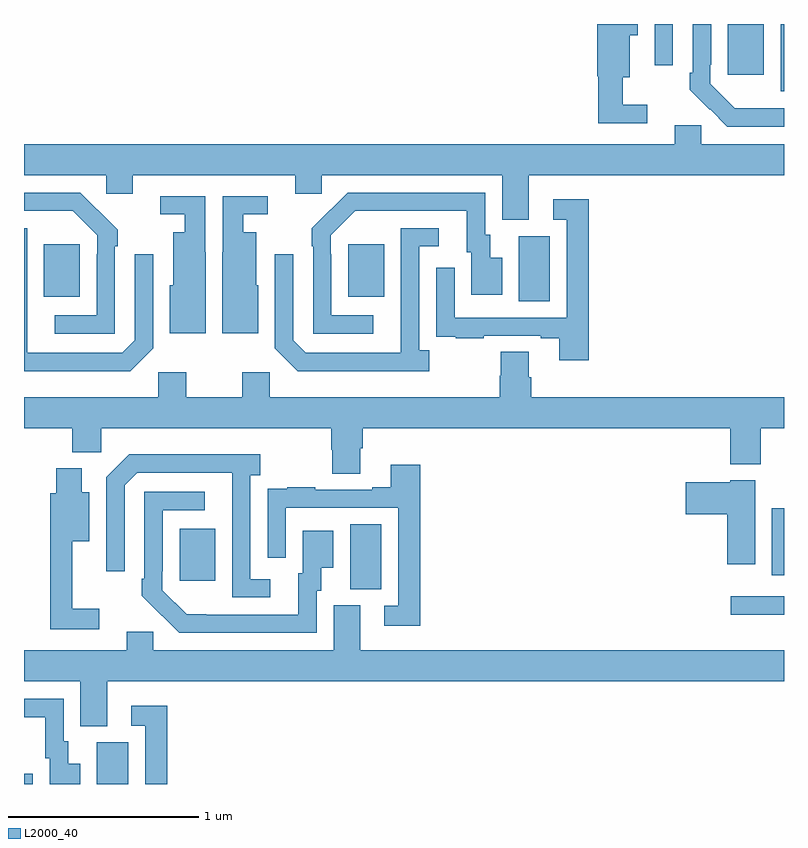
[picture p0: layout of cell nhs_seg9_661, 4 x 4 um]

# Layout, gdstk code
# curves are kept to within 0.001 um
import gdstk
lib = gdstk.Library(unit=1e-6, precision=1e-09)
def R(c, l, rs):  # rectangles x0, y0, x1, y1
    for r in rs: c.add(gdstk.rectangle(r[:2], r[2:], *l))
def P(c, l, *ps):  # polygons
    for p in ps: c.add(gdstk.Polygon(p, *l))
L2000_40 = (2000, 40)

nhs_seg9_661 = lib.new_cell('nhs_seg9_661')
R(nhs_seg9_661, L2000_40, [(143,1242.5,143.046,1242.553), (143.384,1242.5,143.548,1242.72), (146.721,1243.392,147,1243.488), (144.716,1243.525,144.88,1243.868), (143.819,1243.569,144.007,1243.843), (146.936,1243.598,147,1243.951), (145.604,1245.04,145.768,1245.384), (143.105,1245.065,143.293,1245.34), (144.707,1245.065,144.895,1245.34), (146.982,1246.146,147,1246.5), (146.705,1246.233,146.893,1246.5), (146.319,1246.284,146.415,1246.5)])
P(nhs_seg9_661, L2000_40, [(147,1246.056),(146.742,1246.057),(146.613,1246.185),(146.613,1246.285),(146.616,1246.285),(146.616,1246.5),(146.52,1246.5),(146.52,1246.243),(146.505,1246.243),(146.505,1246.155),(146.702,1245.96),(147,1245.96)],
  [(146.281,1246.075),(146.152,1246.075),(146.152,1246.22),(146.188,1246.22),(146.188,1246.442),(146.23,1246.442),(146.23,1246.5),(146.018,1246.5),(146.018,1246.224),(146.023,1246.224),(146.023,1245.978),(146.281,1245.978)],
  [(145.657,1245.704),(147,1245.704),(147,1245.868),(146.565,1245.868),(146.565,1245.966),(146.426,1245.966),(146.426,1245.868),(143,1245.868),(143,1245.704),(143.433,1245.704),(143.433,1245.606),(143.572,1245.606),(143.572,1245.704),(144.428,1245.704),(144.428,1245.606),(144.567,1245.606),(144.567,1245.704),(145.517,1245.704),(145.517,1245.469),(145.657,1245.469)],
  [(144.838,1244.967),(144.618,1244.967),(144.618,1245.287),(144.615,1245.287),(144.615,1245.387),(144.744,1245.516),(145.331,1245.516),(145.331,1245.3),(145.355,1245.3),(145.355,1245.075),(145.516,1245.075),(145.516,1245.271),(145.453,1245.271),(145.453,1245.39),(145.428,1245.39),(145.428,1245.612),(144.704,1245.612),(144.613,1245.521),(144.612,1245.522),(144.515,1245.424),(144.515,1245.329),(144.522,1245.329),(144.522,1244.871),(144.838,1244.871)],
  [(143.478,1245.329),(143.493,1245.329),(143.493,1245.417),(143.296,1245.612),(143,1245.612),(143,1245.516),(143.257,1245.516),(143.385,1245.387),(143.385,1245.287),(143.382,1245.287),(143.382,1244.967),(143.163,1244.967),(143.163,1244.871),(143.478,1244.871)],
  [(144.232,1245.126),(144.223,1245.126),(144.223,1245.403),(144.154,1245.403),(144.154,1245.498),(144.283,1245.498),(144.283,1245.594),(144.045,1245.594),(144.045,1245.299),(144.044,1245.299),(144.044,1244.873),(144.232,1244.873)],
  [(143.956,1245.299),(143.955,1245.299),(143.955,1245.594),(143.718,1245.594),(143.718,1245.498),(143.847,1245.498),(143.847,1245.403),(143.786,1245.403),(143.786,1245.126),(143.768,1245.126),(143.768,1244.873),(143.956,1244.873)],
  [(145.973,1245.577),(145.785,1245.577),(145.785,1245.471),(145.857,1245.471),(145.857,1244.955),(145.266,1244.955),(145.266,1245.217),(145.17,1245.217),(145.17,1244.962),(145.171,1244.962),(145.171,1244.853),(145.273,1244.853),(145.273,1244.847),(145.421,1244.847),(145.421,1244.859),(145.721,1244.859),(145.721,1244.847),(145.817,1244.847),(145.817,1244.73),(145.973,1244.73)],
  [(143.679,1244.793),(143.679,1245.289),(143.583,1245.289),(143.583,1244.835),(143.517,1244.769),(143.017,1244.769),(143.017,1244.969),(143.016,1244.969),(143.016,1245.426),(143,1245.426),(143,1244.672),(143.558,1244.672)],
  [(145.132,1244.782),(145.08,1244.782),(145.08,1245.33),(145.183,1245.33),(145.183,1245.426),(144.984,1245.426),(144.983,1244.769),(144.483,1244.769),(144.417,1244.835),(144.417,1245.289),(144.321,1245.289),(144.321,1244.793),(144.442,1244.672),(145.132,1244.672)],
  [(144.769,1244.266),(144.782,1244.266),(144.782,1244.372),(146.717,1244.372),(146.717,1244.183),(146.877,1244.183),(146.877,1244.372),(147,1244.372),(147,1244.536),(145.67,1244.536),(145.67,1244.642),(145.657,1244.642),(145.657,1244.774),(145.51,1244.774),(145.51,1244.649),(145.505,1244.649),(145.505,1244.536),(144.294,1244.536),(144.294,1244.668),(144.148,1244.668),(144.148,1244.536),(143.853,1244.536),(143.853,1244.668),(143.706,1244.668),(143.706,1244.536),(143,1244.536),(143,1244.372),(143.255,1244.372),(143.255,1244.246),(143.406,1244.246),(143.406,1244.372),(144.617,1244.372),(144.617,1244.259),(144.622,1244.259),(144.622,1244.134),(144.769,1244.134)],
  [(144.295,1243.578),(144.192,1243.578),(144.192,1244.126),(144.244,1244.126),(144.244,1244.236),(143.554,1244.236),(143.433,1244.115),(143.433,1243.62),(143.529,1243.62),(143.529,1244.073),(143.595,1244.139),(144.095,1244.139),(144.096,1243.482),(144.295,1243.482)],
  [(145.085,1244.179),(144.929,1244.179),(144.929,1244.062),(144.833,1244.062),(144.833,1244.049),(144.533,1244.049),(144.533,1244.062),(144.385,1244.062),(144.385,1244.055),(144.283,1244.055),(144.283,1243.946),(144.282,1243.946),(144.282,1243.692),(144.378,1243.692),(144.378,1243.953),(144.969,1243.953),(144.969,1243.437),(144.897,1243.437),(144.897,1243.332),(145.085,1243.332)],
  [(143.395,1243.423),(143.255,1243.423),(143.255,1243.778),(143.344,1243.778),(143.344,1244.035),(143.305,1244.035),(143.305,1244.161),(143.171,1244.161),(143.171,1244.031),(143.137,1244.031),(143.137,1243.314),(143.395,1243.314)],
  [(146.848,1244.098),(146.718,1244.098),(146.718,1244.089),(146.484,1244.089),(146.484,1243.919),(146.702,1243.919),(146.702,1243.656),(146.848,1243.656)],
  [(144.54,1243.518),(144.565,1243.518),(144.565,1243.637),(144.628,1243.637),(144.628,1243.834),(144.467,1243.834),(144.467,1243.608),(144.443,1243.608),(144.443,1243.392),(143.856,1243.393),(143.727,1243.521),(143.727,1243.621),(143.73,1243.621),(143.73,1243.941),(143.95,1243.941),(143.95,1244.037),(143.634,1244.037),(143.634,1243.579),(143.619,1243.579),(143.619,1243.491),(143.816,1243.296),(144.54,1243.296)],
  [(143.437,1243.04),(147,1243.04),(147,1243.204),(144.769,1243.204),(144.769,1243.44),(144.629,1243.44),(144.629,1243.204),(143.679,1243.204),(143.679,1243.302),(143.54,1243.302),(143.54,1243.204),(143,1243.204),(143,1243.04),(143.297,1243.04),(143.297,1242.805),(143.437,1242.805)],
  [(143.296,1242.607),(143.233,1242.607),(143.233,1242.726),(143.208,1242.726),(143.208,1242.948),(143,1242.948),(143,1242.852),(143.111,1242.852),(143.111,1242.636),(143.135,1242.636),(143.135,1242.5),(143.296,1242.5)],
  [(143.753,1242.913),(143.565,1242.913),(143.565,1242.807),(143.637,1242.807),(143.637,1242.5),(143.753,1242.5)])

lib.write_gds('nhs_seg9_661.gds')
